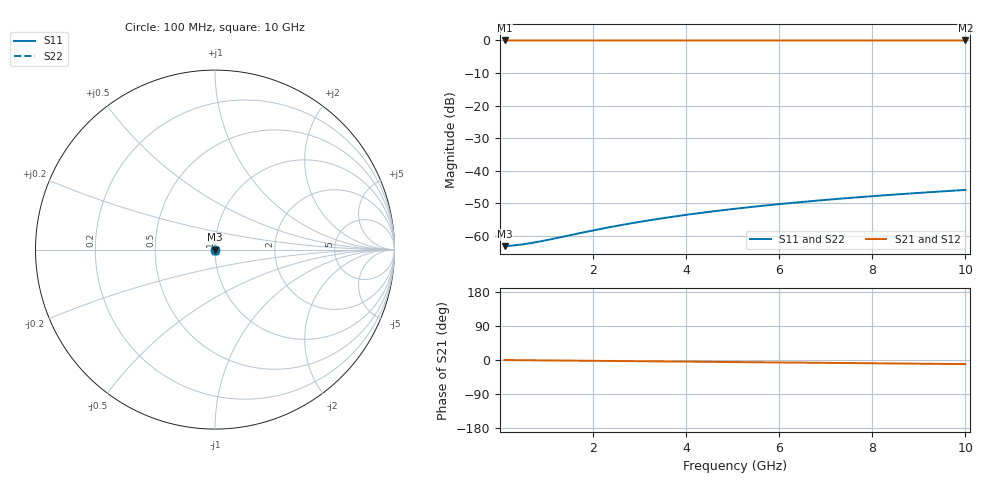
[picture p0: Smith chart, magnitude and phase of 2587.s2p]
# Hz S RI R 50.00
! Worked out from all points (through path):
!   100 points, 100 MHz to 10 GHz, reference 50 ohm
!   highest |S21| = -0.01 dB at 100 MHz (marker M1); lowest = 0.0 dB at 10 GHz (marker M2)
!   group delay of S21, straight-line fit = 3 ps
!   lowest |S11| = -63.2 dB at 100 MHz (marker M3), VSWR 1.00, Z = 50.1 - j0.00499 ohm
!   |S11| at or under -10 dB: start of sweep to end of sweep
!   |S22| runs from -63.2 to -45.9 dB; largest |S21 - S12| = 0
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1e8  0.000689 -4.98e-05  0.9993 -0.00187  0.9993 -0.00187  0.000689 -4.98e-05
3e8  0.000694 -0.00015  0.9993 -0.00562  0.9993 -0.00562  0.000694 -0.00015
4e8  0.000695 -0.000199  0.9993 -0.0075  0.9993 -0.0075  0.000695 -0.000199
5e8  0.000696 -0.000249  0.9992 -0.00937  0.9992 -0.00937  0.000696 -0.000249
7e8  0.000696 -0.000349  0.9992 -0.0131  0.9992 -0.0131  0.000696 -0.000349
9e8  0.000695 -0.000449  0.9991 -0.0169  0.9991 -0.0169  0.000695 -0.000449
1.1e9  0.000692 -0.000549  0.9991 -0.0206  0.9991 -0.0206  0.000692 -0.000549
1.8e9  0.000676 -0.000901  0.9987 -0.0337  0.9987 -0.0337  0.000676 -0.000901
2.2e9  0.000662 -0.0011  0.9984 -0.0412  0.9984 -0.0412  0.000662 -0.0011
2.6e9  0.000644 -0.0013  0.9981 -0.0487  0.9981 -0.0487  0.000644 -0.0013
3e9  0.000623 -0.00151  0.9977 -0.0562  0.9977 -0.0562  0.000623 -0.00151
3.4e9  0.000599 -0.00171  0.9972 -0.0637  0.9972 -0.0637  0.000599 -0.00171
3.8e9  0.000572 -0.00191  0.9967 -0.0712  0.9967 -0.0712  0.000572 -0.00191
4.2e9  0.000542 -0.00212  0.9961 -0.0787  0.9961 -0.0787  0.000542 -0.00212
4.6e9  0.000508 -0.00232  0.9955 -0.0862  0.9955 -0.0862  0.000508 -0.00232
5.1e9  0.000462 -0.00257  0.9946 -0.0956  0.9946 -0.0956  0.000462 -0.00257
5.9e9  0.000378 -0.00298  0.993 -0.1106  0.993 -0.1106  0.000378 -0.00298
6.7e9  0.000281 -0.00339  0.9912 -0.1256  0.9912 -0.1256  0.000281 -0.00339
7.5e9  0.000172 -0.00379  0.9892 -0.1405  0.9892 -0.1405  0.000172 -0.00379
8.4e9  3.49e-05 -0.00425  0.9867 -0.1574  0.9867 -0.1574  3.49e-05 -0.00425
9.2e9  -9.99e-05 -0.00464  0.9841 -0.1723  0.9841 -0.1723  -9.99e-05 -0.00464
1e10  -0.000246 -0.00504  0.9814 -0.1872  0.9814 -0.1872  -0.000246 -0.00504
